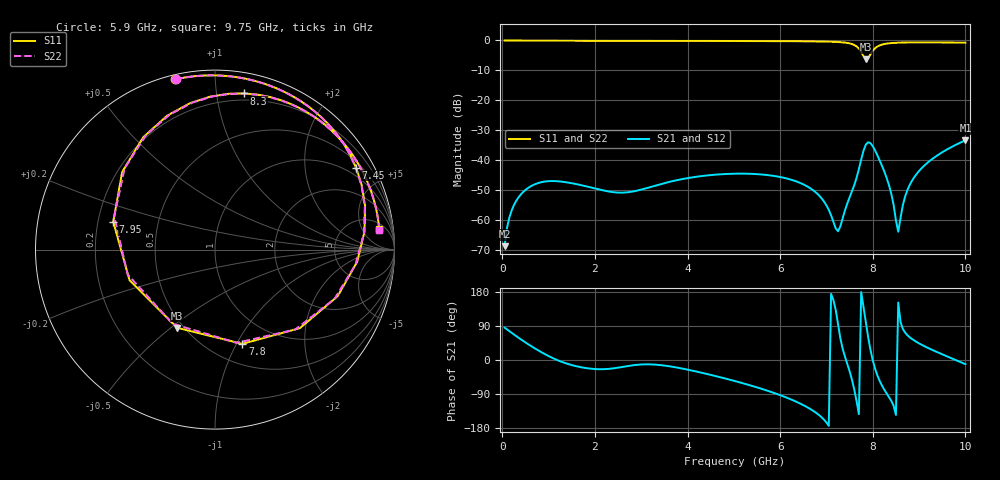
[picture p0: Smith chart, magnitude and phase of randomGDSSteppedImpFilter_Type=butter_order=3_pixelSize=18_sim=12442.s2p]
! freq	dB(S11)	phase(S11)	dB(S12)	phase(S12)
!  dB(S21)	phase(S21)	dB(S22)	phase(S22)
!S-par simulation data
#  GHz  S  DB  R 50
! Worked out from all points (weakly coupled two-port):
!   200 points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, 50 MHz to 10 GHz, reference 50 ohm
!   highest |S21| = -33.32 dB at 10 GHz (marker M1); lowest = -68.6 dB at 50 MHz (marker M2)
!   lowest |S11| = -6.3 dB at 7.85 GHz (marker M3), VSWR 2.87, Z = 23.2 - j26.4 ohm
!   |S11| at or under -10 dB: nowhere
!   |S22| runs from -6.4 to 0.0 dB; largest |S21 - S12| = 0
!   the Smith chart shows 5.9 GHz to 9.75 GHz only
!   S11 on the Smith chart (normalised r, x): 5.9 GHz: 0.02, +0.79; 7.45 GHz: 0.68, +3.59; 7.8 GHz: 0.71, -1.06; 7.95 GHz: 0.26, +0.13; 8.3 GHz: 0.15, +1.19; 9.75 GHz: 7, +11
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0.05  -0.00 -4.6  -68.64 85.4  -68.64 85.4  -0.00 -4.6
0.2  -0.03 -18.2  -56.81 71.9  -56.81 71.9  -0.03 -18.2
0.5  -0.06 -44.2  -49.88 46.3  -49.88 46.3  -0.06 -44.2
1.05  -0.09 -85.3  -46.91 7.3  -46.91 7.3  -0.09 -85.3
1.75  -0.11 -124.6  -48.45 -20.2  -48.45 -20.2  -0.11 -124.7
3.4  -0.13 174.7  -48.02 -13.3  -48.02 -13.3  -0.13 174.6
5.05  -0.18 127.9  -44.45 -56.5  -44.45 -56.5  -0.18 127.7
5.9  -0.23 103.1  -45.29 -88.3  -45.29 -88.3  -0.23 102.9
6.7  -0.31 75.8  -49.84 -133.0  -49.84 -133.0  -0.31 75.6
7.25  -0.52 47.9  -63.66 94.8  -63.66 94.8  -0.53 47.6
7.45  -0.83 30.2  -54.38 -10.2  -54.38 -10.2  -0.85 29.7
7.65  -1.99 -4.9  -45.84 -108.3  -45.84 -108.3  -2.08 -6.1
7.8  -5.24 -73.8  -36.79 139.5  -36.79 139.5  -5.46 -76.9
7.85  -6.31 -115.7  -34.76 98.9  -34.76 98.9  -6.45 -119.7
7.95  -4.62 164.7  -34.26 26.8  -34.26 26.8  -4.57 161.8
8.1  -2.02 109.7  -38.33 -40.8  -38.33 -40.8  -2.01 108.5
8.3  -1.06 79.5  -45.90 -88.4  -45.90 -88.4  -1.06 78.8
8.35  -0.96 74.6  -48.29 -97.8  -48.29 -97.8  -0.96 74.0
8.55  -0.74 59.6  -63.83 151.7  -63.83 151.7  -0.74 59.2
8.9  -0.63 41.1  -45.52 51.1  -45.52 51.1  -0.64 40.7
9.75  -0.70 7.1  -35.16 2.1  -35.16 2.1  -0.71 6.8
10  -0.76 -1.9  -33.32 -11.1  -33.32 -11.1  -0.76 -2.2
